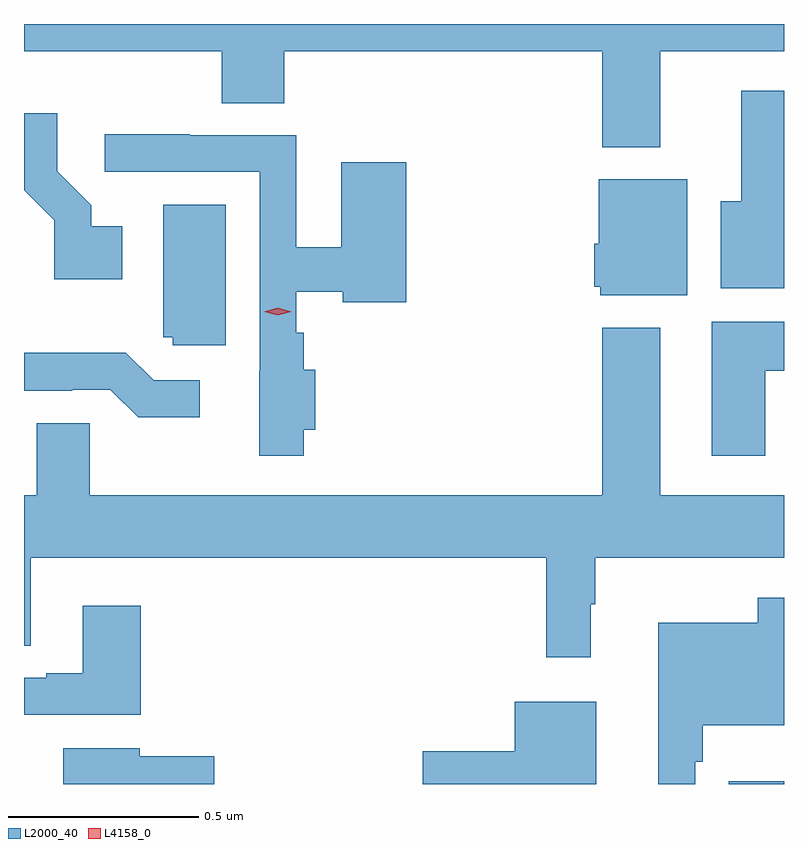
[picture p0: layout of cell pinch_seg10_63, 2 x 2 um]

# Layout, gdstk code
import gdstk
lib = gdstk.Library(unit=1e-6, precision=1e-09)
def R(c, l, rs):  # rectangles x0, y0, x1, y1
    for r in rs: c.add(gdstk.rectangle(r[:2], r[2:], *l))
def P(c, l, *ps):  # polygons
    for p in ps: c.add(gdstk.Polygon(p, *l))
L2000_40 = (2000, 40)
L4158_0 = (4158, 0)

pinch_seg10_63 = lib.new_cell('pinch_seg10_63')
R(pinch_seg10_63, L2000_40, [(840.578,1313.04,840.723,1313.047)])
P(pinch_seg10_63, L2000_40, [(840.397,1314.968),(840.723,1314.968),(840.723,1315.04),(838.723,1315.04),(838.723,1314.968),(839.243,1314.968),(839.243,1314.832),(839.408,1314.832),(839.408,1314.968),(840.245,1314.968),(840.245,1314.716),(840.397,1314.716)],
  [(840.723,1314.865),(840.611,1314.865),(840.611,1314.574),(840.557,1314.574),(840.557,1314.344),(840.723,1314.344)],
  [(838.981,1314.508),(838.9,1314.508),(838.9,1314.563),(838.81,1314.653),(838.81,1314.805),(838.723,1314.805),(838.723,1314.603),(838.803,1314.523),(838.803,1314.368),(838.981,1314.368)],
  [(839.459,1313.972),(839.489,1313.972),(839.489,1314.13),(839.459,1314.13),(839.459,1314.227),(839.439,1314.227),(839.439,1314.335),(839.562,1314.335),(839.562,1314.308),(839.729,1314.308),(839.729,1314.676),(839.558,1314.676),(839.558,1314.452),(839.439,1314.452),(839.439,1314.747),(839.159,1314.747),(839.159,1314.75),(838.935,1314.75),(838.935,1314.651),(839.343,1314.651),(839.343,1314.126),(839.342,1314.126),(839.342,1313.904),(839.459,1313.904)],
  [(840.469,1314.631),(840.236,1314.631),(840.236,1314.462),(840.224,1314.462),(840.224,1314.348),(840.24,1314.348),(840.24,1314.326),(840.469,1314.326)],
  [(839.254,1314.565),(839.09,1314.565),(839.09,1314.216),(839.115,1314.216),(839.115,1314.195),(839.254,1314.195)],
  [(840.673,1314.128),(840.723,1314.128),(840.723,1314.256),(840.533,1314.256),(840.533,1313.904),(840.673,1313.904)],
  [(840.214,1313.513),(840.226,1313.513),(840.226,1313.636),(840.723,1313.636),(840.723,1313.8),(840.397,1313.8),(840.397,1314.241),(840.245,1314.241),(840.245,1313.8),(838.896,1313.8),(838.896,1313.99),(838.757,1313.99),(838.757,1313.8),(838.723,1313.8),(838.723,1313.404),(838.741,1313.404),(838.741,1313.636),(840.097,1313.636),(840.097,1313.373),(840.214,1313.373)],
  [(839.185,1314.102),(839.064,1314.102),(838.991,1314.175),(838.723,1314.175),(838.723,1314.075),(838.85,1314.075),(838.85,1314.078),(838.95,1314.078),(839.023,1314.005),(839.185,1314.005)],
  [(840.489,1313.099),(840.509,1313.099),(840.509,1313.195),(840.723,1313.195),(840.723,1313.53),(840.654,1313.53),(840.654,1313.464),(840.392,1313.464),(840.392,1313.04),(840.489,1313.04)],
  [(839.03,1313.509),(838.877,1313.509),(838.877,1313.332),(838.781,1313.332),(838.781,1313.319),(838.723,1313.319),(838.723,1313.222),(839.03,1313.222)],
  [(840.229,1313.257),(840.014,1313.257),(840.014,1313.126),(839.772,1313.126),(839.772,1313.04),(840.229,1313.04)],
  [(839.224,1313.113),(839.028,1313.113),(839.028,1313.134),(838.826,1313.134),(838.826,1313.04),(839.224,1313.04)])
P(pinch_seg10_63, L4158_0, [(839.391,1314.273),(839.355,1314.283),(839.355,1314.283),(839.355,1314.283),(839.391,1314.293),(839.426,1314.283),(839.426,1314.283),(839.426,1314.283)])

lib.write_gds('pinch_seg10_63.gds')
